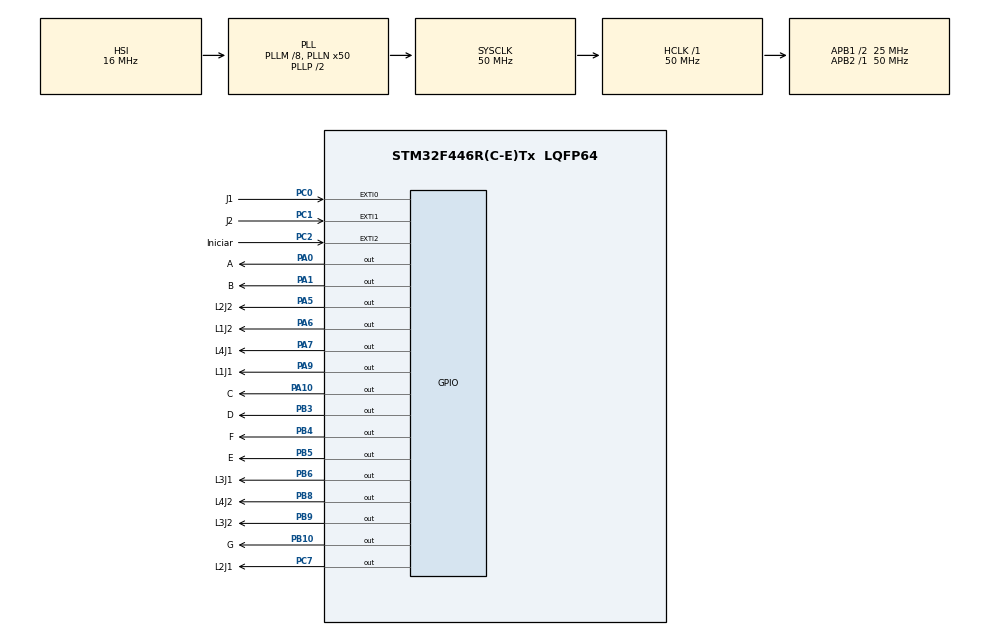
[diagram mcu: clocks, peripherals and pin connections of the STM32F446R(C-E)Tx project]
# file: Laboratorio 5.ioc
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Mcu.Family=STM32F4
Mcu.Name=STM32F446R(C-E)Tx
Mcu.Package=LQFP64
NVIC.EXTI0_IRQn=true\:1\:0\:true\:false\:true\:true\:true\:true
NVIC.EXTI1_IRQn=true\:1\:0\:true\:false\:true\:true\:true\:true
NVIC.EXTI2_IRQn=true\:1\:0\:true\:false\:true\:true\:true\:true
NVIC.PriorityGroup=NVIC_PRIORITYGROUP_4
PA0-WKUP.GPIO_Label=A
PA0-WKUP.Signal=GPIO_Output
PA1.GPIO_Label=B
PA1.Signal=GPIO_Output
PA10.GPIO_Label=C
PA10.GPIO_Speed=GPIO_SPEED_FREQ_HIGH
PA10.Signal=GPIO_Output
PA13.GPIO_Label=TMS
PA13.Mode=Serial_Wire
PA13.Signal=SYS_JTMS-SWDIO
PA14.GPIO_Label=TCK
PA14.Mode=Serial_Wire
PA14.Signal=SYS_JTCK-SWCLK
PA5.GPIO_Label=L2J2
PA5.Signal=GPIO_Output
PA6.GPIO_Label=L1J2
PA6.Signal=GPIO_Output
PA7.GPIO_Label=L4J1
PA7.Signal=GPIO_Output
PA9.GPIO_Label=L1J1
PA9.Signal=GPIO_Output
PB10.GPIO_Label=G
PB10.GPIO_Speed=GPIO_SPEED_FREQ_HIGH
PB10.Signal=GPIO_Output
PB3.GPIO_Label=D
PB3.GPIO_Speed=GPIO_SPEED_FREQ_HIGH
PB3.Signal=GPIO_Output
PB4.GPIO_Label=F
PB4.GPIO_Speed=GPIO_SPEED_FREQ_HIGH
PB4.Signal=GPIO_Output
PB5.GPIO_Label=E
PB5.GPIO_Speed=GPIO_SPEED_FREQ_HIGH
PB5.Signal=GPIO_Output
PB6.GPIO_Label=L3J1
PB6.Signal=GPIO_Output
PB8.GPIO_Label=L4J2
PB8.Signal=GPIO_Output
PB9.GPIO_Label=L3J2
PB9.Signal=GPIO_Output
PC0.GPIO_Label=J1
PC0.GPIO_ModeDefaultEXTI=GPIO_MODE_IT_FALLING
PC0.GPIO_PuPd=GPIO_PULLUP
PC0.Signal=GPXTI0
PC1.GPIO_Label=J2
PC1.GPIO_ModeDefaultEXTI=GPIO_MODE_IT_FALLING
PC1.GPIO_PuPd=GPIO_PULLUP
PC1.Signal=GPXTI1
PC14-OSC32_IN.Mode=LSE-External-Oscillator
PC14-OSC32_IN.Signal=RCC_OSC32_IN
PC15-OSC32_OUT.Mode=LSE-External-Oscillator
PC15-OSC32_OUT.Signal=RCC_OSC32_OUT
PC2.GPIO_Label=Iniciar
PC2.GPIO_ModeDefaultEXTI=GPIO_MODE_IT_FALLING
PC2.GPIO_PuPd=GPIO_PULLUP
PC2.Signal=GPXTI2
PC7.GPIO_Label=L2J1
PC7.Signal=GPIO_Output
PH0-OSC_IN.Mode=HSE-External-Oscillator
PH0-OSC_IN.Signal=RCC_OSC_IN
PH1-OSC_OUT.Mode=HSE-External-Oscillator
PH1-OSC_OUT.Signal=RCC_OSC_OUT
ProjectManager.HeapSize=0x200
ProjectManager.StackSize=0x400
ProjectManager.TargetToolchain=STM32CubeIDE
RCC.48MHZClocksFreq_Value=84000000
RCC.AHBFreq_Value=50000000
RCC.APB1CLKDivider=RCC_HCLK_DIV2
RCC.APB1Freq_Value=25000000
RCC.APB1TimFreq_Value=50000000
RCC.APB2Freq_Value=50000000
RCC.APB2TimFreq_Value=50000000
RCC.CortexFreq_Value=50000000
RCC.FLatency-AdvancedSettings=FLASH_LATENCY_1
RCC.HCLKFreq_Value=50000000
RCC.HSE_VALUE=8000000
RCC.HSI_VALUE=16000000
RCC.PLLM=8
RCC.PLLN=50
RCC.SYSCLKFreq_VALUE=50000000
RCC.SYSCLKSource=RCC_SYSCLKSOURCE_PLLCLK
RCC.USBFreq_Value=50000000
RCC.VCOOutputFreq_Value=100000000
board=NUCLEO-F446RE

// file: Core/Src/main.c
/* USER CODE BEGIN Header */
/**
  ******************************************************************************
  * @file           : main.c
  * @brief          : Main program body
  ******************************************************************************
  * @attention
  *
  * Copyright (c) 2025 STMicroelectronics.
  * All rights reserved.
  *
  * This software is licensed under terms that can be found in the LICENSE file
  * in the root directory of this software component.
  * If no LICENSE file comes with this software, it is provided AS-IS.
  *
  ******************************************************************************
  */
/* USER CODE END Header */
#include "main.h"

/* USER CODE BEGIN PV */
uint16_t state = 0;
uint16_t nextstate = 1;
uint8_t Jugador1 = 0;
uint8_t Jugador2 = 0;
uint8_t Ganador = 0;
int numero[6] = {0, 1, 2, 4, 8, 15};
uint8_t bloqueoJ1 = 0;
uint8_t bloqueoJ2 = 0;
uint8_t display7Seg[11] = {
    0b00111111, // 0
    0b00000110, // 1
    0b01011011, // 2
    0b01001111, // 3
    0b01100110, // 4
    0b01101101, // 5
    0b01111101, // 6
    0b00000111, // 7
    0b01111111, // 8
    0b01101111, // 9
	0b00000000
};
/* USER CODE END PV */

void SystemClock_Config(void);
static void MX_GPIO_Init(void);

/* USER CODE BEGIN 0 */
void No_Jugar(void);
void Si_Jugar(void);
/* USER CODE END 0 */

int main(void)
{

  /* MCU Configuration--------------------------------------------------------*/

  /* Reset of all peripherals, Initializes the Flash interface and the Systick. */
  HAL_Init();

  /* Configure the system clock */
  SystemClock_Config();

  /* Initialize all configured peripherals */
  MX_GPIO_Init();

  /* Infinite loop */
  /* USER CODE BEGIN WHILE */
  while (1) {
	  switch (state) {
	  	  case 0: No_Jugar(); nextstate = 1;break;
	      case 1: Si_Jugar(); nextstate = 0; break;
	      default: state = 0; break;
	  }
    /* USER CODE END WHILE */

  }
}

void SystemClock_Config(void)
{
  RCC_OscInitTypeDef RCC_OscInitStruct = {0};
  RCC_ClkInitTypeDef RCC_ClkInitStruct = {0};

  /** Configure the main internal regulator output voltage
  */
  __HAL_RCC_PWR_CLK_ENABLE();
  __HAL_PWR_VOLTAGESCALING_CONFIG(PWR_REGULATOR_VOLTAGE_SCALE3);

  /** Initializes the RCC Oscillators according to the specified parameters
  * in the RCC_OscInitTypeDef structure.
  */
  RCC_OscInitStruct.OscillatorType = RCC_OSCILLATORTYPE_HSI;
  RCC_OscInitStruct.HSIState = RCC_HSI_ON;
  RCC_OscInitStruct.HSICalibrationValue = RCC_HSICALIBRATION_DEFAULT;
  RCC_OscInitStruct.PLL.PLLState = RCC_PLL_ON;
  RCC_OscInitStruct.PLL.PLLSource = RCC_PLLSOURCE_HSI;
  RCC_OscInitStruct.PLL.PLLM = 8;
  RCC_OscInitStruct.PLL.PLLN = 50;
  RCC_OscInitStruct.PLL.PLLP = RCC_PLLP_DIV2;
  RCC_OscInitStruct.PLL.PLLQ = 2;
  RCC_OscInitStruct.PLL.PLLR = 2;
  if (HAL_RCC_OscConfig(&RCC_OscInitStruct) != HAL_OK)
  {
    Error_Handler();
  }

  /** Initializes the CPU, AHB and APB buses clocks
  */
  RCC_ClkInitStruct.ClockType = RCC_CLOCKTYPE_HCLK|RCC_CLOCKTYPE_SYSCLK
                              |RCC_CLOCKTYPE_PCLK1|RCC_CLOCKTYPE_PCLK2;
  RCC_ClkInitStruct.SYSCLKSource = RCC_SYSCLKSOURCE_PLLCLK;
  RCC_ClkInitStruct.AHBCLKDivider = RCC_SYSCLK_DIV1;
  RCC_ClkInitStruct.APB1CLKDivider = RCC_HCLK_DIV2;
  RCC_ClkInitStruct.APB2CLKDivider = RCC_HCLK_DIV1;

  if (HAL_RCC_ClockConfig(&RCC_ClkInitStruct, FLASH_LATENCY_1) != HAL_OK)
  {
    Error_Handler();
  }
}

static void MX_GPIO_Init(void)
{
  GPIO_InitTypeDef GPIO_InitStruct = {0};

  /* GPIO Ports Clock Enable */
  __HAL_RCC_GPIOC_CLK_ENABLE();
  __HAL_RCC_GPIOH_CLK_ENABLE();
  __HAL_RCC_GPIOA_CLK_ENABLE();
  __HAL_RCC_GPIOB_CLK_ENABLE();

  /*Configure GPIO pin Output Level */
  HAL_GPIO_WritePin(GPIOA, A_Pin|B_Pin|L2J2_Pin|L1J2_Pin
                          |L4J1_Pin|L1J1_Pin|C_Pin, GPIO_PIN_RESET);

  /*Configure GPIO pin Output Level */
  HAL_GPIO_WritePin(GPIOB, G_Pin|D_Pin|F_Pin|E_Pin
                          |L3J1_Pin|L4J2_Pin|L3J2_Pin, GPIO_PIN_RESET);

  /*Configure GPIO pin Output Level */
  HAL_GPIO_WritePin(L2J1_GPIO_Port, L2J1_Pin, GPIO_PIN_RESET);

  /*Configure GPIO pins : J1_Pin J2_Pin Iniciar_Pin */
  GPIO_InitStruct.Pin = J1_Pin|J2_Pin|Iniciar_Pin;
  GPIO_InitStruct.Mode = GPIO_MODE_IT_FALLING;
  GPIO_InitStruct.Pull = GPIO_PULLUP;
  HAL_GPIO_Init(GPIOC, &GPIO_InitStruct);

  /*Configure GPIO pins : A_Pin B_Pin L2J2_Pin L1J2_Pin
                           L4J1_Pin L1J1_Pin */
  GPIO_InitStruct.Pin = A_Pin|B_Pin|L2J2_Pin|L1J2_Pin
                          |L4J1_Pin|L1J1_Pin;
  GPIO_InitStruct.Mode = GPIO_MODE_OUTPUT_PP;
  GPIO_InitStruct.Pull = GPIO_NOPULL;
  GPIO_InitStruct.Speed = GPIO_SPEED_FREQ_LOW;
  HAL_GPIO_Init(GPIOA, &GPIO_InitStruct);

  /*Configure GPIO pins : G_Pin D_Pin F_Pin E_Pin */
  GPIO_InitStruct.Pin = G_Pin|D_Pin|F_Pin|E_Pin;
  GPIO_InitStruct.Mode = GPIO_MODE_OUTPUT_PP;
  GPIO_InitStruct.Pull = GPIO_NOPULL;
  GPIO_InitStruct.Speed = GPIO_SPEED_FREQ_HIGH;
  HAL_GPIO_Init(GPIOB, &GPIO_InitStruct);

  /*Configure GPIO pin : L2J1_Pin */
  GPIO_InitStruct.Pin = L2J1_Pin;
  GPIO_InitStruct.Mode = GPIO_MODE_OUTPUT_PP;
  GPIO_InitStruct.Pull = GPIO_NOPULL;
  GPIO_InitStruct.Speed = GPIO_SPEED_FREQ_LOW;
  HAL_GPIO_Init(L2J1_GPIO_Port, &GPIO_InitStruct);

  /*Configure GPIO pin : C_Pin */
  GPIO_InitStruct.Pin = C_Pin;
  GPIO_InitStruct.Mode = GPIO_MODE_OUTPUT_PP;
  GPIO_InitStruct.Pull = GPIO_NOPULL;
  GPIO_InitStruct.Speed = GPIO_SPEED_FREQ_HIGH;
  HAL_GPIO_Init(C_GPIO_Port, &GPIO_InitStruct);

  /*Configure GPIO pins : L3J1_Pin L4J2_Pin L3J2_Pin */
  GPIO_InitStruct.Pin = L3J1_Pin|L4J2_Pin|L3J2_Pin;
  GPIO_InitStruct.Mode = GPIO_MODE_OUTPUT_PP;
  GPIO_InitStruct.Pull = GPIO_NOPULL;
  GPIO_InitStruct.Speed = GPIO_SPEED_FREQ_LOW;
  HAL_GPIO_Init(GPIOB, &GPIO_InitStruct);

  /* EXTI interrupt init*/
  HAL_NVIC_SetPriority(EXTI0_IRQn, 1, 0);
  HAL_NVIC_EnableIRQ(EXTI0_IRQn);

  HAL_NVIC_SetPriority(EXTI1_IRQn, 1, 0);
  HAL_NVIC_EnableIRQ(EXTI1_IRQn);

  HAL_NVIC_SetPriority(EXTI2_IRQn, 1, 0);
  HAL_NVIC_EnableIRQ(EXTI2_IRQn);

}

/* USER CODE BEGIN 4 */
void Mascara(uint8_t number1, uint8_t number2);
void displaySegments(uint8_t value);

#define DEBOUNCE_DELAY 200 // Tiempo de antirrebote en milisegundos

uint32_t lastDebounceTimeJ1 = 0;
uint32_t lastDebounceTimeJ2 = 0;

void HAL_GPIO_EXTI_Callback(uint16_t GPIO_Pin) {
    uint32_t currentTime = HAL_GetTick();

    if (GPIO_Pin == Iniciar_Pin) {
        if (state == 0) {
            displaySegments(display7Seg[5]);
            HAL_Delay(500);
            displaySegments(display7Seg[4]);
            HAL_Delay(500);
            displaySegments(display7Seg[3]);
            HAL_Delay(500);
            displaySegments(display7Seg[2]);
            HAL_Delay(500);
            displaySegments(display7Seg[1]);
            HAL_Delay(500);
            displaySegments(display7Seg[0]);
            HAL_Delay(500);
        } else {
            Jugador1 = 0;
            Jugador2 = 0;
            Ganador = 0;
        }
        state = nextstate;
    }

    // Jugador 1 con antirrebote
    if (GPIO_Pin == J1_Pin) {
        if ((currentTime - lastDebounceTimeJ1) > DEBOUNCE_DELAY) {
            if (state != 0 && Jugador1 < 4) {
                Jugador1++;
                if (Jugador1 == 4) {
                    Ganador = 1;
                }
            }
            lastDebounceTimeJ1 = currentTime;
        }
    }

    // Jugador 2 con antirrebote
    if (GPIO_Pin == J2_Pin) {
        if ((currentTime - lastDebounceTimeJ2) > DEBOUNCE_DELAY) {
            if (state != 0 && Jugador2 < 4) {
                Jugador2++;
                if (Jugador2 == 4) {
                    Ganador = 2;
                }
            }
            lastDebounceTimeJ2 = currentTime;
        }
    }
}

//0b01101101, // 5
void displaySegments(uint8_t value) {
    // Segmento A - PA1
    HAL_GPIO_WritePin(GPIOA, GPIO_PIN_0, (value & 0x01) ? GPIO_PIN_SET : GPIO_PIN_RESET);
    // Segmento B - PA0
    HAL_GPIO_WritePin(GPIOA, GPIO_PIN_1, (value & 0x02) ? GPIO_PIN_SET : GPIO_PIN_RESET);
    // Segmento C - PA10
    HAL_GPIO_WritePin(GPIOA, GPIO_PIN_10, (value & 0x04) ? GPIO_PIN_SET : GPIO_PIN_RESET);
    // Segmento D - PB3
    HAL_GPIO_WritePin(GPIOB, GPIO_PIN_3, (value & 0x08) ? GPIO_PIN_SET : GPIO_PIN_RESET);
    // Segmento E - PB5
    HAL_GPIO_WritePin(GPIOB, GPIO_PIN_5, (value & 0x10) ? GPIO_PIN_SET : GPIO_PIN_RESET);
    // Segmento F - PB4
    HAL_GPIO_WritePin(GPIOB, GPIO_PIN_4, (value & 0x20) ? GPIO_PIN_SET : GPIO_PIN_RESET);
    // Segmento G - PB10
    HAL_GPIO_WritePin(GPIOB, GPIO_PIN_10, (value & 0x40) ? GPIO_PIN_SET : GPIO_PIN_RESET);
}

void No_Jugar(void){
	state = 0;
	Ganador = 0;
	Jugador1 = 0;
	Jugador2 = 0;
}

void Si_Jugar(void){
	Mascara(numero[Jugador1], numero[Jugador2]);
	if (Ganador == 2){
		displaySegments(display7Seg[2]);
		Jugador1 = 0;
		Mascara(numero[0], numero[5]);
	}
	if (Ganador == 1){
		displaySegments(display7Seg[1]);
		Jugador2 = 0;
		Mascara(numero[5], numero[0]);
	}
}

void Mascara(uint8_t number1, uint8_t number2) {
    // Configuramos cada bit por separado

    // Para number1
    HAL_GPIO_WritePin(GPIOA, GPIO_PIN_9, (number1 & 0x01) ? GPIO_PIN_SET : GPIO_PIN_RESET);
    HAL_GPIO_WritePin(GPIOC, GPIO_PIN_7, (number1 & 0x02) ? GPIO_PIN_SET : GPIO_PIN_RESET);
    HAL_GPIO_WritePin(GPIOB, GPIO_PIN_6, (number1 & 0x04) ? GPIO_PIN_SET : GPIO_PIN_RESET);
    HAL_GPIO_WritePin(GPIOA, GPIO_PIN_7, (number1 & 0x08) ? GPIO_PIN_SET : GPIO_PIN_RESET);

    // Para number2
    HAL_GPIO_WritePin(GPIOA, GPIO_PIN_6, (number2 & 0x01) ? GPIO_PIN_SET : GPIO_PIN_RESET);
    HAL_GPIO_WritePin(GPIOA, GPIO_PIN_5, (number2 & 0x02) ? GPIO_PIN_SET : GPIO_PIN_RESET);
    HAL_GPIO_WritePin(GPIOB, GPIO_PIN_9, (number2 & 0x04) ? GPIO_PIN_SET : GPIO_PIN_RESET);
    HAL_GPIO_WritePin(GPIOB, GPIO_PIN_8, (number2 & 0x08) ? GPIO_PIN_SET : GPIO_PIN_RESET);
}
/* USER CODE END 4 */

void Error_Handler(void)
{
  __disable_irq();
  while (1)
  {
  }
}
